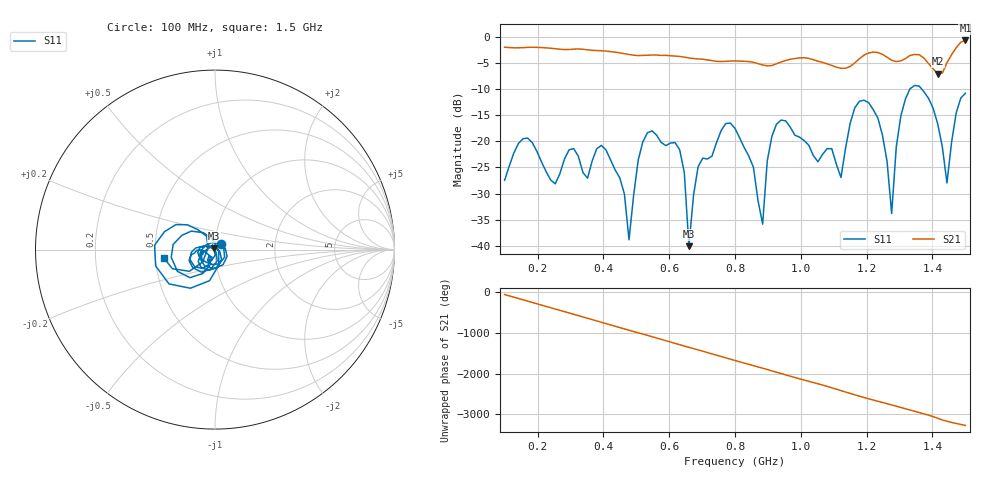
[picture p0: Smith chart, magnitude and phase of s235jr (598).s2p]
! NanoVNA-App
! Date: 2025-09-25 15:08:49
! Start: 100MHz Stop: 1,5GHz Points: 101
! S-Parameter data: F S11 S21 S12 S22
# Hz S RI R 50
!  Frequency  S11_Real  S11_Imag  S21_Real  S21_Imag  S12_Real  S12_Imag  S22_Real  S22_Imag
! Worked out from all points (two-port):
!   101 points, 100 MHz to 1.5 GHz, reference 50 ohm
!   highest |S21| = -0.67 dB at 1.5 GHz (marker M1); lowest = -7.1 dB at 1.416 GHz (marker M2)
!   |S21| within 3 dB of the highest: start of sweep to 619.4 MHz; 1.188 GHz to 1.257 GHz (68.45 MHz wide, 5.6 % of centre) (the widest 2 of 4)
!   lowest |S11| = -40.1 dB at 660 MHz (marker M3), VSWR 1.02, Z = 49.3 + j0.647 ohm
!   |S11| at or under -10 dB: start of sweep to 1.331 GHz; 1.367 GHz to end of sweep
!   S12 and S22 are empty: the file has one direction only
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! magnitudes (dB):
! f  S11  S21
! 100 MHz  -27.5  -2.0
! 170 MHz  -19.4  -2.0
! 338 MHz  -26.0  -2.4
! 408 MHz  -21.6  -2.7
! 478 MHz  -38.9  -3.4
! 520 MHz  -20.1  -3.5
! 576 MHz  -20.2  -3.5
! 632 MHz  -21.6  -3.7
! 660 MHz  -40.1  -4.0
! 688 MHz  -24.8  -4.2
! 800 MHz  -17.5  -4.6
! 884 MHz  -35.9  -5.4
! 926 MHz  -16.7  -5.1
! 1.038 GHz  -22.7  -4.4
! 1.122 GHz  -26.9  -6.0
! 1.206 GHz  -12.6  -3.1
! 1.276 GHz  -33.8  -4.5
! 1.29 GHz  -21.1  -4.7
! 1.332 GHz  -9.9  -3.5
! 1.416 GHz  -16.7  -7.1
! 1.444 GHz  -28.0  -4.9
! 1.5 GHz  -10.8  -0.7
